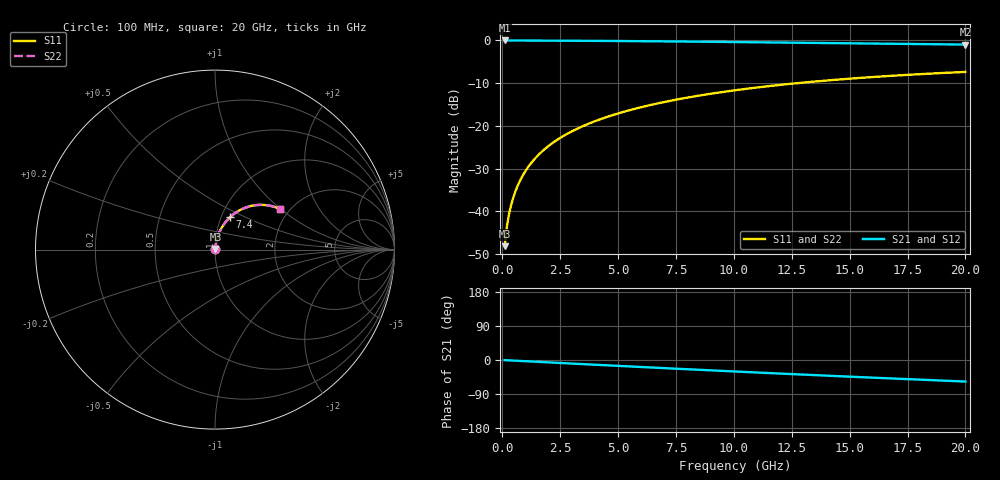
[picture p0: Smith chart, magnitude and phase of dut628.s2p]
! Touchstone file exported from HFSS 2026.1.0
!  File:  C:/ffzhzh/LocalFiles/Ansys_Project_Files/temp_train_TMRDL_628_1783009120_55676.aedt
!  Generated:  12:20:22 AM Jul  3, 2026
!  Design:  TMRDL
!  Project:  temp_train_TMRDL_628_1783009120_55676
! Variables:
!  h_bsmrdl = 2um
!  h_ox = 20um
!  h_rdl = 5um
!  h_sub = 80um
!  h_tmrdl = 5.66um
!  h_tsv = 80um
!  h_via = 3um
!  l_bsmrdl = 300um
!  l_sub = 1306.22um
!  l_tmrdl = 906.22um
!  m_sub = 200um
!  pitch = 57.64um
!  r_tsv = 6um
!  s_tmrdl = 10um
!  w_bsmrdl = 18um
!  w_sub = 500um
!  w_tmrdl = 28.48um
!  x_tsv_center1 = 920.46um
!  x_tsv_center2 = 1238.46um
!  x_tsv_center3 = 2173.16um
!  x_tsv_center4 = 2491.16um
!  x_tsv_center5 = 3425.86um
!  x_tsv_center6 = 3743.86um
# GHz S MA R 50.000000
! Terminal data exported
! Port[1] = TM_RDL1_1_T1
! Port[2] = TM_RDL1_1_T2
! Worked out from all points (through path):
!   200 points, 100 MHz to 20 GHz, reference 50 ohm
!   highest |S21| = -0.02 dB at 100 MHz (marker M1); lowest = -1.0 dB at 20 GHz (marker M2)
!   group delay of S21, straight-line fit = 7.89 ps
!   lowest |S11| = -48.1 dB at 100 MHz (marker M3), VSWR 1.01, Z = 50.2 + j0.322 ohm
!   |S11| at or under -10 dB: start of sweep to 12.76 GHz
!   |S22| runs from -48.1 to -7.4 dB; largest |S21 - S12| = 5.3e-15
!   S11 on the Smith chart (normalised r, x): 100 MHz: 1.00, +0.01; 7.4 GHz: 1.10, +0.42; 20 GHz: 1.79, +0.99
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0.1  0.003914 54.9  0.9978 -0.3  0.9978 -0.3  0.003914 54.9
! Gamma 0 0 0 0
! Port Impedance 50 0 50 0
0.2  0.006713 68.0  0.9975 -0.7  0.9975 -0.7  0.006713 68.0
0.3  0.009544 73.1  0.9974 -1.0  0.9974 -1.0  0.009544 73.1
0.4  0.01238 76.0  0.9972 -1.3  0.9972 -1.3  0.01238 76.0
0.5  0.01523 77.8  0.9971 -1.6  0.9971 -1.6  0.01523 77.8
0.7  0.02097 79.7  0.9969 -2.2  0.9969 -2.2  0.02097 79.7
0.8  0.02385 80.2  0.9968 -2.6  0.9968 -2.6  0.02385 80.2
1  0.02962 80.7  0.9965 -3.2  0.9965 -3.2  0.02962 80.7
1.2  0.03539 80.8  0.9961 -3.8  0.9961 -3.8  0.03539 80.8
1.4  0.04114 80.7  0.9957 -4.4  0.9957 -4.4  0.04114 80.7
1.7  0.04973 80.3  0.9951 -5.4  0.9951 -5.4  0.04973 80.3
2  0.05826 79.7  0.9943 -6.3  0.9943 -6.3  0.05826 79.7
2.7  0.07789 78.0  0.9923 -8.5  0.9923 -8.5  0.07789 78.0
3.5  0.09986 75.9  0.9895 -11.0  0.9895 -11.0  0.09986 75.9
4.2  0.1187 73.9  0.9868 -13.1  0.9868 -13.1  0.1187 73.9
5  0.1397 71.7  0.9834 -15.5  0.9834 -15.5  0.1397 71.7
6.8  0.1853 66.7  0.9747 -20.9  0.9747 -20.9  0.1853 66.6
7.4  0.2 65.0  0.9715 -22.7  0.9715 -22.7  0.2 64.9
10.1  0.262 57.5  0.9557 -30.5  0.9557 -30.5  0.262 57.5
13.4  0.3283 48.6  0.9343 -39.7  0.9343 -39.7  0.3283 48.5
16.7  0.3834 40.0  0.9128 -48.5  0.9128 -48.5  0.3835 40.0
20  0.4275 31.8  0.893 -56.9  0.893 -56.9  0.4275 31.7
